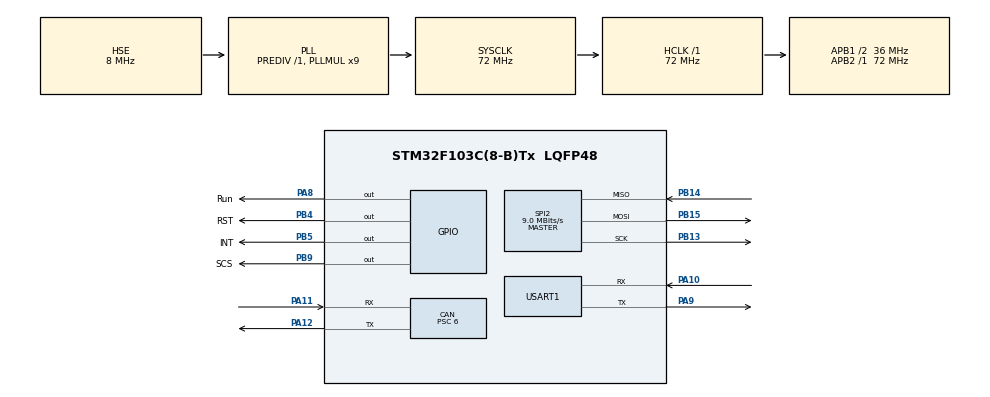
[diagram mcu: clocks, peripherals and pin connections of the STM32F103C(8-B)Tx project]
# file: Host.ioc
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CAN.BS1=CAN_BS1_5TQ
CAN.BS2=CAN_BS2_6TQ
CAN.CalculateBaudRate=499999
CAN.CalculateTimeBit=2000
CAN.CalculateTimeQuantum=166.66666666666669
CAN.Prescaler=6
Mcu.Family=STM32F1
Mcu.Name=STM32F103C(8-B)Tx
Mcu.Package=LQFP48
NVIC.PriorityGroup=NVIC_PRIORITYGROUP_4
NVIC.USB_LP_CAN1_RX0_IRQn=true\:0\:0\:false\:false\:true\:true\:true
PA10.Mode=Asynchronous
PA10.Signal=USART1_RX
PA11.Mode=CAN_Activate
PA11.Signal=CAN_RX
PA12.Mode=CAN_Activate
PA12.Signal=CAN_TX
PA13.Mode=Serial_Wire
PA13.Signal=SYS_JTMS-SWDIO
PA14.Mode=Serial_Wire
PA14.Signal=SYS_JTCK-SWCLK
PA8.GPIO_Label=Run
PA8.Signal=GPIO_Output
PA9.Mode=Asynchronous
PA9.Signal=USART1_TX
PB13.Mode=Full_Duplex_Master
PB13.Signal=SPI2_SCK
PB14.Mode=Full_Duplex_Master
PB14.Signal=SPI2_MISO
PB15.Mode=Full_Duplex_Master
PB15.Signal=SPI2_MOSI
PB4.GPIO_Label=RST
PB4.Signal=GPIO_Output
PB5.GPIO_Label=INT
PB5.Signal=GPIO_Output
PB9.GPIO_Label=SCS
PB9.Signal=GPIO_Output
PD0-OSC_IN.Mode=HSE-External-Oscillator
PD0-OSC_IN.Signal=RCC_OSC_IN
PD1-OSC_OUT.Mode=HSE-External-Oscillator
PD1-OSC_OUT.Signal=RCC_OSC_OUT
ProjectManager.HeapSize=0x200
ProjectManager.StackSize=0x400
ProjectManager.TargetToolchain=MDK-ARM V5
RCC.AHBFreq_Value=72000000
RCC.APB1CLKDivider=RCC_HCLK_DIV2
RCC.APB1Freq_Value=36000000
RCC.APB1TimFreq_Value=72000000
RCC.APB2Freq_Value=72000000
RCC.APB2TimFreq_Value=72000000
RCC.HCLKFreq_Value=72000000
RCC.PLLMUL=RCC_PLL_MUL9
RCC.PLLSourceVirtual=RCC_PLLSOURCE_HSE
RCC.SYSCLKFreq_VALUE=72000000
RCC.SYSCLKSource=RCC_SYSCLKSOURCE_PLLCLK
RCC.USBFreq_Value=72000000
SPI2.BaudRatePrescaler=SPI_BAUDRATEPRESCALER_4
SPI2.CLKPhase=SPI_PHASE_2EDGE
SPI2.CLKPolarity=SPI_POLARITY_HIGH
SPI2.CalculateBaudRate=9.0 MBits/s
SPI2.Direction=SPI_DIRECTION_2LINES
SPI2.Mode=SPI_MODE_MASTER
SPI2.VirtualType=VM_MASTER
TIM2.Period=1000
TIM2.Prescaler=71
USART1.VirtualMode=VM_ASYNC
VP_TIM2_VS_ClockSourceINT.Mode=Internal
board=custom

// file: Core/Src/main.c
/* USER CODE BEGIN Header */
/**
  ******************************************************************************
  * @file           : main.c
  * @brief          : Main program body
  ******************************************************************************
  * @attention
  *
  * Copyright (c) 2022 STMicroelectronics.
  * All rights reserved.
  *
  * This software is licensed under terms that can be found in the LICENSE file
  * in the root directory of this software component.
  * If no LICENSE file comes with this software, it is provided AS-IS.
  *
  ******************************************************************************
  */
/* USER CODE END Header */
#include "main.h"
#include "can.h"
#include "spi.h"
#include "tim.h"
#include "usart.h"
#include "gpio.h"

/* USER CODE BEGIN Includes */
#include "w5500.h"
#include "w5500_conf.h"
#include "socket.h"
#include "utility.h"
#include "dhcp.h"
#include "tcp_demo.h"
/* USER CODE END Includes */

/* USER CODE BEGIN PV */
static CAN_TxHeaderTypeDef        TxMessage;    //CAN发送的消息的消息头
static CAN_RxHeaderTypeDef        RxMessage;    //CAN接收的消息的消息头

uint8_t order[9] = {0x09,0x01,0x02,0x03,0x04,0x05,0x06,0x07,0x08};//指令集

uint8_t Collection_start = 1;//数据采集开始标志位
uint8_t Collection_over;//数据采集结束标志位
uint8_t order_or_data;//接收数据/指令选择位
uint8_t Slave_x;//从机序号变量
uint8_t Salve_Send_Over;//从机发送结束标志位
uint8_t All_Data_R;//所有数据接收完成标志
uint8_t SlaveX_num;//从机x发送的数据次数

uint8_t Voltage_data[600*8];//发送的阵列传感器数据

/* USER CODE END PV */

void SystemClock_Config(void);
/* USER CODE BEGIN PFP */
void CAN_Send(uint8_t orderD);
/* USER CODE END PFP */

/* USER CODE BEGIN 0 */
/**
  * @brief CAN过滤器配置函数（掩码全为零，不进行过滤）
  * @retval None
  */
static void CANFilter_Config(void)
{
    CAN_FilterTypeDef  sFilterConfig;

    sFilterConfig.FilterBank = 0;                       //CAN过滤器编号，范围0-27
    sFilterConfig.FilterMode = CAN_FILTERMODE_IDMASK;   //CAN过滤器模式，掩码模式或列表模式
    sFilterConfig.FilterScale = CAN_FILTERSCALE_32BIT;  //CAN过滤器尺度，16位或32位
    sFilterConfig.FilterIdHigh = 0x000 << 5;			      //32位下，存储要过滤ID的高16位
    sFilterConfig.FilterIdLow = 0x0000;					        //32位下，存储要过滤ID的低16位
    sFilterConfig.FilterMaskIdHigh = 0x0000;			      //掩码模式下，存储的是掩码
    sFilterConfig.FilterMaskIdLow = 0x0000;
    sFilterConfig.FilterFIFOAssignment = 0;				      //报文通过过滤器的匹配后，存储到哪个FIFO
    sFilterConfig.FilterActivation = ENABLE;    		    //激活过滤器
    sFilterConfig.SlaveStartFilterBank = 0;

    if (HAL_CAN_ConfigFilter(&hcan, &sFilterConfig) != HAL_OK) {
        Error_Handler();
    }
}
/* USER CODE END 0 */

int main(void)
{

  /* MCU Configuration--------------------------------------------------------*/

  /* Reset of all peripherals, Initializes the Flash interface and the Systick. */
  HAL_Init();

  /* Configure the system clock */
  SystemClock_Config();

  /* Initialize all configured peripherals */
  MX_GPIO_Init();
  MX_CAN_Init();
  MX_SPI2_Init();
  MX_USART1_UART_Init();
  MX_TIM2_Init();
  /* USER CODE BEGIN 2 */
	gpio_for_w5500_config();						/*初始化MCU相关引脚*/
  reset_w5500();                      /* W5500硬件复位 */
	set_w5500_mac();										/*配置MAC地址*/
	set_w5500_ip();											/*配置IP地址*/
	socket_buf_init(txsize, rxsize);		/*初始化8个Socket的发送接收缓存大小*/

	/* 1. CAN Filter Config */
	CANFilter_Config();

	/* 2. CAN Start */
	if(HAL_CAN_Start(&hcan) != HAL_OK)
	{
		Error_Handler();
	}

  /* 3. Enable CAN RX Interrupt */
	if(HAL_CAN_ActivateNotification(&hcan, CAN_IT_RX_FIFO0_MSG_PENDING) != HAL_OK)
	{
		Error_Handler();
	}

	HAL_Delay(100);
  /* USER CODE END 2 */

  /* Infinite loop */
  /* USER CODE BEGIN WHILE */
  while (1)
  {
		if(Collection_start == 1)
		{
			CAN_Send(order[0]);//发送采集数据指令
			Collection_start = 0;
		}

		if(All_Data_R == 1)
		{
			do_tcp_client(Voltage_data, 600*8);/*TCP_Client 数据回环测试程序*/
			All_Data_R = 0;
			Collection_start = 1;
			HAL_GPIO_TogglePin(GPIOA,TongXin_Pin);
		}

		HAL_GPIO_TogglePin(GPIOA,Run_Pin);
		HAL_Delay(200);
    /* USER CODE END WHILE */

  }
}

void SystemClock_Config(void)
{
  RCC_OscInitTypeDef RCC_OscInitStruct = {0};
  RCC_ClkInitTypeDef RCC_ClkInitStruct = {0};

  /** Initializes the RCC Oscillators according to the specified parameters
  * in the RCC_OscInitTypeDef structure.
  */
  RCC_OscInitStruct.OscillatorType = RCC_OSCILLATORTYPE_HSE;
  RCC_OscInitStruct.HSEState = RCC_HSE_ON;
  RCC_OscInitStruct.HSEPredivValue = RCC_HSE_PREDIV_DIV1;
  RCC_OscInitStruct.HSIState = RCC_HSI_ON;
  RCC_OscInitStruct.PLL.PLLState = RCC_PLL_ON;
  RCC_OscInitStruct.PLL.PLLSource = RCC_PLLSOURCE_HSE;
  RCC_OscInitStruct.PLL.PLLMUL = RCC_PLL_MUL9;
  if (HAL_RCC_OscConfig(&RCC_OscInitStruct) != HAL_OK)
  {
    Error_Handler();
  }
  /** Initializes the CPU, AHB and APB buses clocks
  */
  RCC_ClkInitStruct.ClockType = RCC_CLOCKTYPE_HCLK|RCC_CLOCKTYPE_SYSCLK
                              |RCC_CLOCKTYPE_PCLK1|RCC_CLOCKTYPE_PCLK2;
  RCC_ClkInitStruct.SYSCLKSource = RCC_SYSCLKSOURCE_PLLCLK;
  RCC_ClkInitStruct.AHBCLKDivider = RCC_SYSCLK_DIV1;
  RCC_ClkInitStruct.APB1CLKDivider = RCC_HCLK_DIV2;
  RCC_ClkInitStruct.APB2CLKDivider = RCC_HCLK_DIV1;

  if (HAL_RCC_ClockConfig(&RCC_ClkInitStruct, FLASH_LATENCY_2) != HAL_OK)
  {
    Error_Handler();
  }
}

/* USER CODE BEGIN 4 */
/**
  * @brief CAN 发送数据测试函数
  * @retval None
  */
void CAN_Send(uint8_t orderD)
{
	uint8_t dataO[1];
	dataO[0] = orderD;

	uint32_t TxMailbox;
	TxMessage.IDE = CAN_ID_STD;     //设置ID类型，标准模式
	TxMessage.StdId = 0x0000;        //设置ID号，标识符，可进行过滤
	TxMessage.RTR = CAN_RTR_DATA;   //设置传送数据帧
	TxMessage.DLC = 1;              //设置数据长度

	if (HAL_CAN_AddTxMessage(&hcan, &TxMessage, dataO, &TxMailbox) != HAL_OK)
	{
		Error_Handler();
  }
}

/**
  * @brief CAN接收中断处理函数
  * @retval None
  */
void HAL_CAN_RxFifo0MsgPendingCallback(CAN_HandleTypeDef *hcan)
{
	uint8_t  data[8];
	uint16_t i;

	if (HAL_CAN_GetRxMessage(hcan, CAN_RX_FIFO0, &RxMessage, data) == HAL_OK)
	{
		if(order_or_data == 0)//指令传输
		{
			if(data[0] == 0x09)
			{
					CAN_Send(order[1]);//发送从机1传输指令
					order_or_data = 1;//接收完指令，准备接收数据
			}
		}
		else//数据传输
		{
			switch(RxMessage.StdId)
			{
				case 0x0001://从机1
					Slave_x = 1;
				  SlaveX_num++;
					for(i=0; i<8; i++)
					{
						Voltage_data[(Slave_x-1)*600+(SlaveX_num-1)*8+i] = data[i+1];
					}
					CAN_Send(order[1]);//发送从机2传输指令
					break;
//				case 0x0002://从机2
//					Slave_x = 2;
//					for(i=0; i<8; i++)
//					{
//						Voltage_data[(Slave_x-1)*600+(SlaveX_num-1)*8+i] = data[i+1];
//					}
//					CAN_Send(order[3]);//发送从机3传输指令
//					break;
//				case 0x0003://从机3
//					Slave_x = 3;
//					for(i=0; i<8; i++)
//					{
//						Voltage_data[(Slave_x-1)*600+(SlaveX_num-1)*8+i] = data[i];
//					}
//					CAN_Send(order[4]);//发送从机4传输指令
//					break;
//				case 0x0004://从机4
//					Slave_x = 4;
//					for(i=0; i<8; i++)
//					{
//						Voltage_data[(Slave_x-1)*600+(SlaveX_num-1)*8+i] = data[i];
//					}
//					CAN_Send(order[5]);//发送从机5传输指令
//					break;
//				case 0x0005://从机5
//					Slave_x = 5;
//					for(i=0; i<8; i++)
//					{
//						Voltage_data[(Slave_x-1)*600+(SlaveX_num-1)*8+i] = data[i];
//					}
//					CAN_Send(order[6]);//发送从机6传输指令
//					break;
//				case 0x0006://从机6
//					Slave_x = 6;
//					for(i=0; i<8; i++)
//					{
//						Voltage_data[(Slave_x-1)*600+(SlaveX_num-1)*8+i] = data[i];
//					}
//					CAN_Send(order[7]);//发送从机7传输指令
//					break;
//				case 0x0007://从机7
//					Slave_x = 7;
//					for(i=0; i<8; i++)
//					{
//						Voltage_data[(Slave_x-1)*600+(SlaveX_num-1)*8+i] = data[i];
//					}
//					CAN_Send(order[8]);//发送从机8传输指令
//					break;
//				case 0x0008://从机8
//					Slave_x = 3;
//					for(i=0; i<8; i++)
//					{
//						Voltage_data[(Slave_x-1)*600+(SlaveX_num-1)*8+i] = data[i+1];
//					}
//					if(SlaveX_num < 75)
//					{
//						CAN_Send(order[1]);//发送从机1传输指令
//					}else
//					{
//						SlaveX_num=0;
//						All_Data_R = 1;//所有从机数据发送结束
//						order_or_data = 0;//开始接收指令
//					}
//					break;
			}
		}
	}
}

/* USER CODE END 4 */

void Error_Handler(void)
{
  __disable_irq();
  while (1)
  {
  }
}
